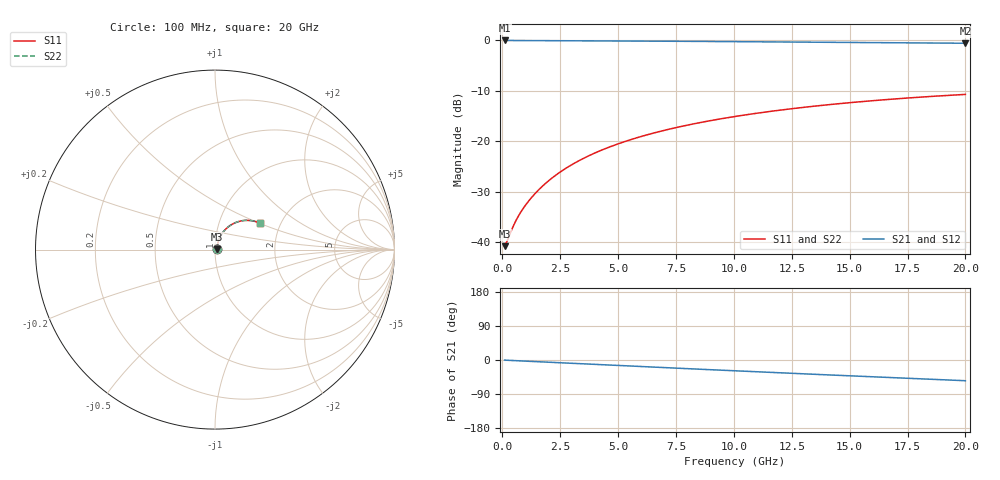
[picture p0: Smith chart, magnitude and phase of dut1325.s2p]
! Touchstone file exported from HFSS 2026.1.0
!  File:  C:/ffzhzh/LocalFiles/Ansys_Project_Files/temp_train_TMRDL_1325_1783165110_55132.aedt
!  Generated:  07:39:44 PM Jul  4, 2026
!  Design:  TMRDL
!  Project:  temp_train_TMRDL_1325_1783165110_55132
! Variables:
!  h_bsmrdl = 2um
!  h_ox = 20um
!  h_rdl = 5um
!  h_sub = 80um
!  h_tmrdl = 3.1um
!  h_tsv = 80um
!  h_via = 3um
!  l_bsmrdl = 300um
!  l_sub = 1356.79um
!  l_tmrdl = 956.79um
!  m_sub = 200um
!  pitch = 19.98um
!  r_tsv = 6um
!  s_tmrdl = 10um
!  w_bsmrdl = 18um
!  w_sub = 500um
!  w_tmrdl = 12.26um
!  x_tsv_center1 = 962.92um
!  x_tsv_center2 = 1280.92um
!  x_tsv_center3 = 2249.97um
!  x_tsv_center4 = 2567.97um
!  x_tsv_center5 = 3537.02um
!  x_tsv_center6 = 3855.02um
# GHz S MA R 50.000000
! Terminal data exported
! Port[1] = TM_RDL1_1_T1
! Port[2] = TM_RDL1_1_T2
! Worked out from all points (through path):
!   200 points, 100 MHz to 20 GHz, reference 50 ohm
!   highest |S21| = -0.08 dB at 100 MHz (marker M1); lowest = -0.6 dB at 20 GHz (marker M2)
!   group delay of S21, straight-line fit = 7.58 ps
!   lowest |S11| = -40.7 dB at 100 MHz (marker M3), VSWR 1.02, Z = 50.9 + j0.239 ohm
!   |S11| at or under -10 dB: start of sweep to end of sweep
!   |S22| runs from -40.7 to -10.7 dB; largest |S21 - S12| = 4.6e-15
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0.1  0.009186 14.8  0.9911 -0.3  0.9911 -0.3  0.009186 14.8
! Gamma 0 0 0 0
! Port Impedance 50 0 50 0
0.2  0.01023 26.8  0.9909 -0.6  0.9909 -0.6  0.01023 26.8
0.4  0.01326 41.8  0.9903 -1.2  0.9903 -1.2  0.01326 41.8
0.5  0.01493 46.3  0.9899 -1.5  0.9899 -1.5  0.01493 46.4
0.7  0.01828 52.6  0.9893 -2.1  0.9893 -2.1  0.01828 52.6
1  0.02331 58.5  0.9887 -3.0  0.9887 -3.0  0.02331 58.5
1.2  0.02671 61.1  0.9883 -3.6  0.9883 -3.6  0.02671 61.2
1.4  0.03015 63.2  0.988 -4.1  0.988 -4.1  0.03014 63.2
1.8  0.03715 65.9  0.9874 -5.3  0.9874 -5.3  0.03714 65.9
2.3  0.04605 67.7  0.9867 -6.7  0.9867 -6.7  0.04605 67.8
2.9  0.05684 68.6  0.9857 -8.5  0.9857 -8.5  0.05684 68.6
3.5  0.06764 68.5  0.9846 -10.2  0.9846 -10.2  0.06763 68.6
4.2  0.08015 67.9  0.983 -12.2  0.983 -12.2  0.08015 67.9
5  0.09426 66.6  0.981 -14.5  0.981 -14.5  0.09425 66.7
5.9  0.1098 64.9  0.9785 -17.0  0.9785 -17.0  0.1098 64.9
6.8  0.1249 62.9  0.9758 -19.5  0.9758 -19.5  0.1249 63.0
8.3  0.1492 59.3  0.9708 -23.7  0.9708 -23.7  0.1492 59.4
10.1  0.1764 54.9  0.9644 -28.7  0.9644 -28.7  0.1764 55.0
11.7  0.199 50.9  0.9585 -33.0  0.9585 -33.0  0.199 51.0
13.4  0.2213 46.6  0.9523 -37.5  0.9523 -37.5  0.2212 46.8
16.7  0.2593 38.4  0.9406 -46.2  0.9406 -46.2  0.2593 38.6
20  0.2904 30.4  0.9301 -54.7  0.9301 -54.7  0.2904 30.6
